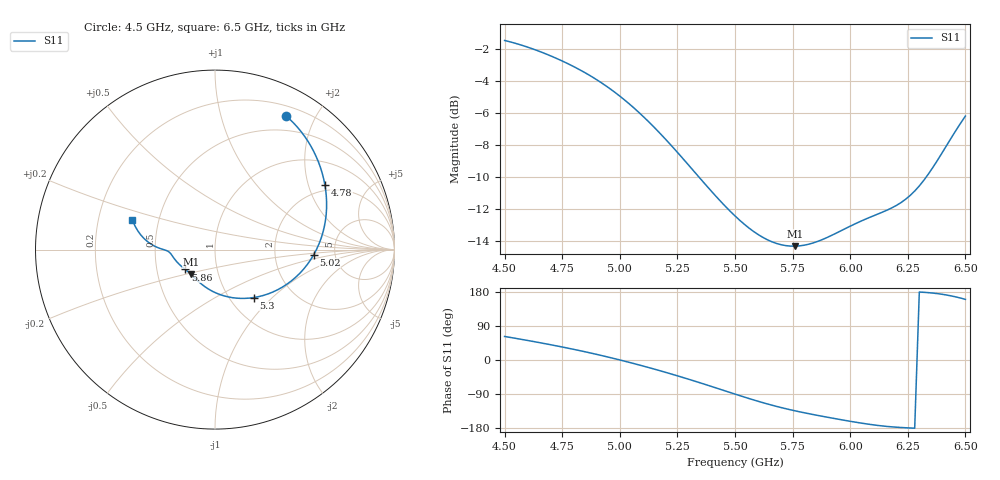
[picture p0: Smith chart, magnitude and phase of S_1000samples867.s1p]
! TOUCHSTONE file generated by CST MICROWAVE STUDIO
! Date and time: Sat Oct 29 15:43:51 2022
! Project name: L.cst
! Parameters = {Di=1.27; Epsilon_r=1.56; InnerDiameter=1.27; Length=2; Lf=10; Lg=60; OuterConductorThickness=0.2921; OuterDiameter=3.6; Wf=3; Wp=41.2; de=1.5; df=6.8; g=0.8; gx=0.82664; gy=0.983051; h=2.34; hf=1.524; px=9.49783; py=10.6347; w=9.7; wx=8.67119; wy=9.65167}
! Header version: 2018
! Port assignment regex: !\s*Touchstone port\s*([0-9]+)\s*=\s*(CST MWS port|CST DS port)\s*([0-9]+|Zmin|Zmax)\s*\(\"(.*)\"\)(\s*mode\s*([0-9]+))?.*
! Touchstone port assignment:
! Touchstone port 1 = CST MWS port 1 ("")
# GHz S DB R 50
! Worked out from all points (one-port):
!   101 points, 4.5 GHz to 6.5 GHz, reference 50 ohm
!   lowest |S11| = -14.3 dB at 5.76 GHz (marker M1), VSWR 1.48, Z = 36.9 - j10.6 ohm
!   |S11| at or under -10 dB: 5.344 GHz to 6.33 GHz (986 MHz wide, 16.9 % of centre)
!   S11 on the Smith chart (normalised r, x): 4.5 GHz: 0.31, +1.62; 4.78 GHz: 1.76, +2.57; 5.02 GHz: 3.43, -0.28; 5.3 GHz: 1.29, -0.78; 5.86 GHz: 0.70, -0.16; 6.5 GHz: 0.35, +0.15
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4.5  -1.47 62.1
4.56  -1.71 55.8
4.64  -2.10 47.1
4.7  -2.44 40.3
4.76  -2.82 33.1
4.78  -2.96 30.6
4.84  -3.41 22.9
4.9  -3.93 14.7
5  -4.95 0.1
5.02  -5.18 -3.0
5.08  -5.93 -12.5
5.14  -6.76 -22.4
5.2  -7.66 -32.8
5.26  -8.62 -43.6
5.3  -9.28 -51.0
5.4  -10.92 -70.2
5.5  -12.42 -89.9
5.56  -13.17 -101.5
5.64  -13.91 -115.9
5.76  -14.31 -134.0
5.86  -14.01 -146.4
6  -13.06 -161.7
6.18  -11.93 -176.4
6.26  -11.15 -179.4
6.34  -9.80 177.7
6.4  -8.46 173.3
6.46  -7.06 166.3
6.5  -6.20 160.0
